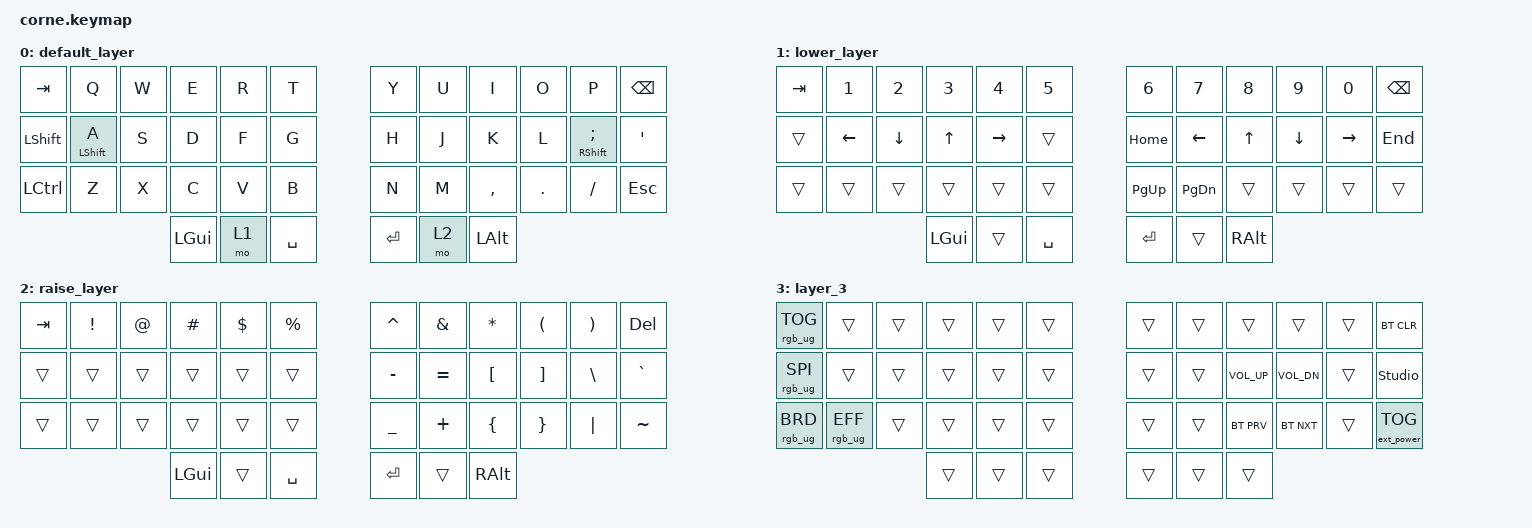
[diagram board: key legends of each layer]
/*
 * Copyright (c) 2020 The ZMK Contributors
 *
 * SPDX-License-Identifier: MIT
 */

#include <behaviors.dtsi>
#include <dt-bindings/zmk/bt.h>
#include <dt-bindings/zmk/ext_power.h>
#include <dt-bindings/zmk/keys.h>
#include <dt-bindings/zmk/rgb.h>

&led_strip {
    //chain-length = <0>;
    //21 backlight + 6 glowlight

    chain-length = <27>;
};

&mt { flavor = "balanced"; };

/ {
    keymap {
        compatible = "zmk,keymap";

        default_layer {
            // -----------------------------------------------------------------------------------------
            // |  TAB |  Q  |  W  |  E  |  R  |  T  |   |  Y  |  U   |  I  |  O  |  P  | BSPC |
            // | CTRL |  A  |  S  |  D  |  F  |  G  |   |  H  |  J   |  K  |  L  |  ;  |  '   |
            // | SHFT |  Z  |  X  |  C  |  V  |  B  |   |  N  |  M   |  ,  |  .  |  /  | ESC  |
            //                    | GUI | LWR | SPC |   | ENT | RSE  | ALT |

            bindings = <
&kp TAB           &kp Q             &kp W  &kp E     &kp R  &kp T        &kp Y    &kp U  &kp I         &kp O    &kp P                 &kp BSPC
&kp LEFT_SHIFT    &mt LEFT_SHIFT A  &kp S  &kp D     &kp F  &kp G        &kp H    &kp J  &kp K         &kp L    &mt RIGHT_SHIFT SEMI  &kp SQT
&kp LEFT_CONTROL  &kp Z             &kp X  &kp C     &kp V  &kp B        &kp N    &kp M  &kp COMMA     &kp DOT  &kp FSLH              &kp ESC
                                           &kp LGUI  &mo 1  &kp SPACE    &kp RET  &mo 2  &kp LEFT_ALT
            >;
        };

        lower_layer {
            // -----------------------------------------------------------------------------------------
            // |  TAB |  1  |  2  |  3  |  4  |  5  |   |  6  |  7  |  8  |  9  |  0  | BSPC |
            // | BTCLR| BT1 | BT2 | BT3 | BT4 | BT5 |   | LFT | DWN |  UP | RGT |     |      |
            // | SHFT |     |     |     |     |     |   |     |     |     |     |     |      |
            //                    | GUI |     | SPC |   | ENT |     | ALT |

            bindings = <
&kp TAB  &kp N1    &kp N2          &kp N3        &kp N4     &kp N5       &kp N6     &kp N7          &kp N8    &kp N9          &kp N0           &kp BSPC
&trans   &kp LEFT  &kp DOWN_ARROW  &kp UP_ARROW  &kp RIGHT  &trans       &kp HOME   &kp LEFT_ARROW  &kp UP    &kp DOWN_ARROW  &kp RIGHT_ARROW  &kp END
&trans   &trans    &trans          &trans        &trans     &trans       &kp PG_UP  &kp PG_DN       &trans    &trans          &trans           &trans
                                   &kp LGUI      &trans     &kp SPACE    &kp RET    &trans          &kp RALT
            >;
        };

        raise_layer {
            // -----------------------------------------------------------------------------------------
            // |  TAB |  !  |  @  |  #  |  $  |  %  |   |  ^  |  &  |  *  |  (  |  )  | BSPC |
            // | CTRL |     |     |     |     |     |   |  -  |  =  |  [  |  ]  |  \  |  `   |
            // | SHFT |     |     |     |     |     |   |  _  |  +  |  {  |  }  | "|" |  ~   |
            //                    | GUI |     | SPC |   | ENT |     | ALT |

            bindings = <
&kp TAB  &kp EXCL  &kp AT  &kp HASH  &kp DLLR  &kp PRCNT    &kp CARET  &kp AMPS   &kp ASTRK  &kp LPAR  &kp RPAR  &kp DELETE
&trans   &trans    &trans  &trans    &trans    &trans       &kp MINUS  &kp EQUAL  &kp LBKT   &kp RBKT  &kp BSLH  &kp GRAVE
&trans   &trans    &trans  &trans    &trans    &trans       &kp UNDER  &kp PLUS   &kp LBRC   &kp RBRC  &kp PIPE  &kp TILDE
                           &kp LGUI  &trans    &kp SPACE    &kp RET    &trans     &kp RALT
            >;
        };

        layer_3 {
            bindings = <
&rgb_ug RGB_TOG  &trans           &trans  &trans  &trans  &trans    &trans  &trans  &trans           &trans        &trans  &bt BT_CLR
&rgb_ug RGB_SPI  &trans           &trans  &trans  &trans  &trans    &trans  &trans  &kp C_VOLUME_UP  &kp C_VOL_DN  &trans  &studio_unlock
&rgb_ug RGB_BRD  &rgb_ug RGB_EFF  &trans  &trans  &trans  &trans    &trans  &trans  &bt BT_PRV       &bt BT_NXT    &trans  &ext_power EP_TOG
                                          &trans  &trans  &trans    &trans  &trans  &trans
            >;
        };
    };

    conditional_layers {
        compatible = "zmk,conditional-layers";

        layer3 {
            if-layers = <1 2>;
            then-layer = <3>;
        };
    };
};
